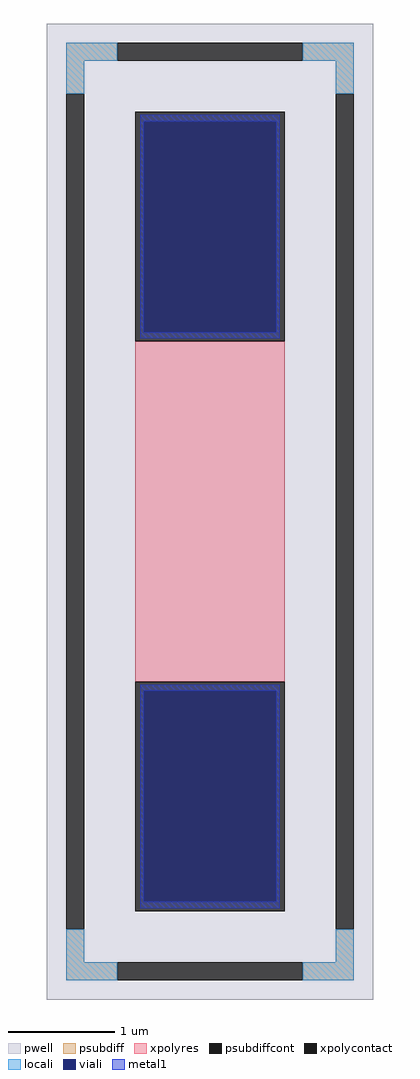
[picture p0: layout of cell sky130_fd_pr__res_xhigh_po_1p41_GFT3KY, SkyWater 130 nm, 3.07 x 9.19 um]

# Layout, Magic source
magic
tech sky130A
magscale 1 2
<< pwell >>
rect -307 -919 307 919
<< psubdiff >>
rect -271 849 -175 883
rect 175 849 271 883
rect -271 787 -237 849
rect 237 787 271 849
rect -271 -849 -237 -787
rect 237 -849 271 -787
rect -271 -883 -175 -849
rect 175 -883 271 -849
<< psubdiffcont >>
rect -175 849 175 883
rect -271 -787 -237 787
rect 237 -787 271 787
rect -175 -883 175 -849
<< xpolycontact >>
rect -141 321 141 753
rect -141 -753 141 -321
<< xpolyres >>
rect -141 -321 141 321
<< locali >>
rect -271 849 -175 883
rect 175 849 271 883
rect -271 787 -237 849
rect 237 787 271 849
rect -271 -849 -237 -787
rect 237 -849 271 -787
rect -271 -883 -175 -849
rect 175 -883 271 -849
<< viali >>
rect -125 338 125 735
rect -125 -735 125 -338
<< metal1 >>
rect -131 735 131 747
rect -131 338 -125 735
rect 125 338 131 735
rect -131 326 131 338
rect -131 -338 131 -326
rect -131 -735 -125 -338
rect 125 -735 131 -338
rect -131 -747 131 -735
<< properties >>
string FIXED_BBOX -254 -866 254 866
string gencell sky130_fd_pr__res_xhigh_po_1p41
string library sky130
string parameters w 1.410 l 3.373 m 1 nx 1 wmin 1.410 lmin 0.50 rho 2000 val 5.051k dummy 0 dw 0.0 term 188.2 sterm 0.0 caplen 0 wmax 1.410 guard 1 glc 1 grc 1 gtc 1 gbc 1 compatible {sky130_fd_pr__res_xhigh_po_0p35  sky130_fd_pr__res_xhigh_po_0p69 sky130_fd_pr__res_xhigh_po_1p41  sky130_fd_pr__res_xhigh_po_2p85 sky130_fd_pr__res_xhigh_po_5p73} snake 0 full_metal 1 n_guard 0 hv_guard 0 vias 1 viagb 0 viagt 0 viagl 0 viagr 0
<< end >>
